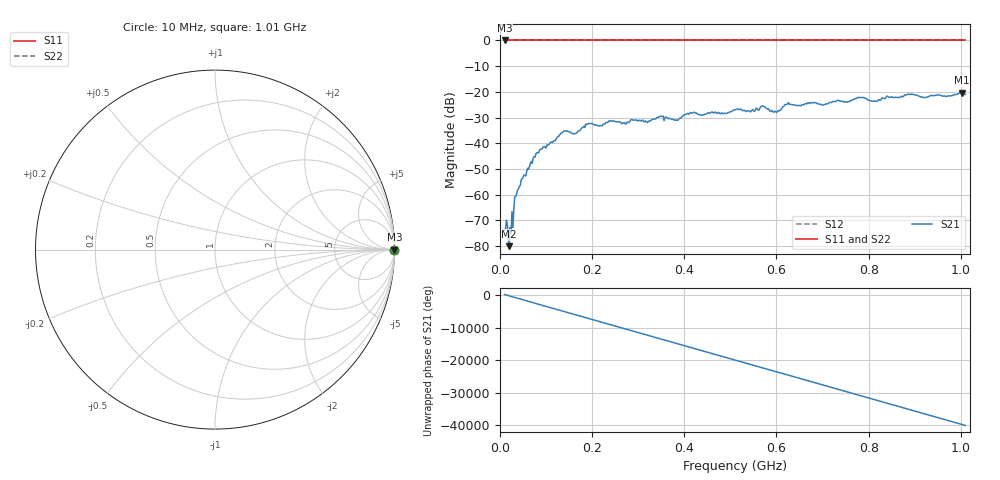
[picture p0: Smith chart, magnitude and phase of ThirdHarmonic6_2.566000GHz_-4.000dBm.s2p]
! 8/17/2025 5:20:18 AM
! C:\ANRITSUVNA\TEMP\TEMP.S2P
! CHANNEL.1
! TR.MEASUREMENT
! RAW.DATA
! RF.CORRECTION.OFF
! AVERAGING.OFF
! IF.BANDWIDTH: 5KHZ
! SWEEPTYPE:  FREQ.SWEEP(Linear)
! Reference Plane Port Info
! PORT:  PORT1  PORT2
! DISTANCE:  0  m  0  m
! TIME:  0  s  0  s
! PHASE.OFFSET:  0  deg.  0  deg.
! LOSS:  0  dB  0  dB
! REF.LOSS:  0  dB  0  dB
! REF.FREQ:  0  Hz  0  Hz
! Power Info
! POWER:  -20  dBm  -20  dBm
! EFF.POWER:  -20  dBm  -20  dBm
! SOURCE.ATTEN:  0  dB  0  dB
! TEST.ATTEN:  0  dB  0  dB
# GHZ S RI R 50.0
! FREQ.GHZ  S11RE  S11IM  S21RE  S21IM  S12RE  S12IM  S22RE  S22IM
!; PortSelection: Port_12
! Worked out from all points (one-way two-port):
!   501 points, 10 MHz to 1.01 GHz, reference 50 ohm
!   highest |S21| = -20.35 dB at 1.002 GHz (marker M1); lowest = -80.0 dB at 20 MHz (marker M2)
!   lowest |S11| = 0.0 dB at 10 MHz (marker M3)
!   |S11| at or under -10 dB: nowhere
!   |S22| runs from 0.0 to 0.0 dB; largest |S21 - S12| = 1.1
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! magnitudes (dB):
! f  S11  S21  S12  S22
! 10 MHz  0.0  -73.9  0.0  0.0
! 20 MHz  0.0  -80.0  0.0  0.0
! 24 MHz  0.0  -75.2  0.0  0.0
! 36 MHz  0.0  -59.9  0.0  0.0
! 76 MHz  0.0  -45.4  0.0  0.0
! 136 MHz  0.0  -35.8  0.0  0.0
! 162 MHz  0.0  -36.3  0.0  0.0
! 178 MHz  0.0  -34.0  0.0  0.0
! 194 MHz  0.0  -32.2  0.0  0.0
! 322 MHz  0.0  -31.5  0.0  0.0
! 344 MHz  0.0  -30.0  0.0  0.0
! 382 MHz  0.0  -30.9  0.0  0.0
! 416 MHz  0.0  -28.3  0.0  0.0
! 510 MHz  0.0  -27.0  0.0  0.0
! 570 MHz  0.0  -25.5  0.0  0.0
! 598 MHz  0.0  -27.6  0.0  0.0
! 622 MHz  0.0  -24.8  0.0  0.0
! 678 MHz  0.0  -24.2  0.0  0.0
! 814 MHz  0.0  -23.5  0.0  0.0
! 844 MHz  0.0  -22.1  0.0  0.0
! 1.002 GHz  0.0  -20.3  0.0  0.0
! 1.01 GHz  0.0  -21.0  0.0  0.0
